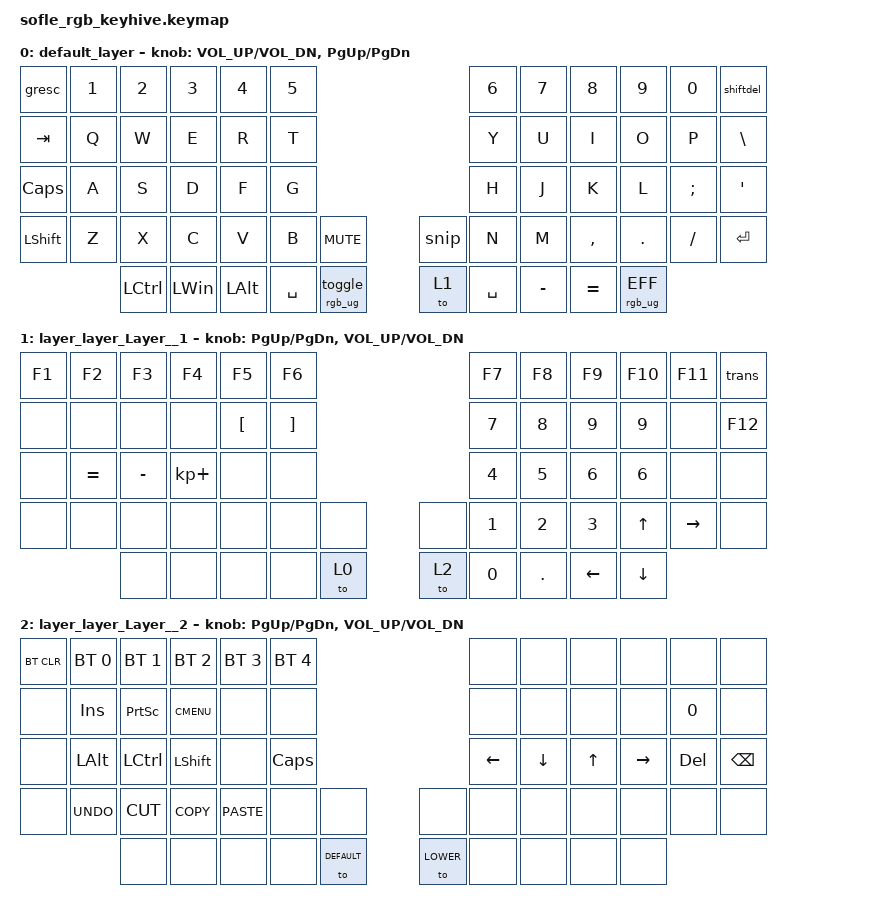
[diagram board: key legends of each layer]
//keymap
#include <dt-bindings/zmk/keys.h>
#include <dt-bindings/zmk/bt.h>
#include <dt-bindings/zmk/rgb.h>


#define DEFAULT 0 
#define LOWER   1
#define RAISE   2

/ {
    behaviors {
        gresc: grave_escape {
            compatible = "zmk,behavior-mod-morph";
            label = "GRAVE_ESCAPE";
            #binding-cells = <0>;
            bindings = <&kp ESC>, <&kp GRAVE>;
            mods = <&kp MOD_LSFT>;
        };
        shiftdel: shift_delete {
            compatible = "zmk,behavior-mod-morph";
            label = "SHIFT_DELETE";
            #binding-cells = <0>;
            bindings = <&kp BACKSPACE>, <&kp DELETE>;
            mods = <&kp MOD_LSFT>;
        };
    };
    macros {
        snip: zed_em_kay {
            label = "Snip";
            compatible = "zmk,behavior-macro";
            #binding-cells = <0>;
            bindings
                = <&macro_press &kp LWIN &kp LSHIFT &kp S>
                , <&macro_release &kp LWIN &kp LSHIFT &kp S>
                ;
        };
    };
    keymap {    
        compatible = "zmk,keymap";
// -------------------------------------------------------------------------------------------------------------
// |  ESC  |  1  |  2  |  3   |  4   |  5  |                       |  6  |   7   |  8    |  9   |   0   | BKSPC |
// |  TAB  |  Q  |  W  |  E   |  R   |  T  |                       |  Y  |   U   |  I    |  O   |   P   |   \   |
// |  CAPS |  A  |  S  |  D   |  F   |  G  |                       |  H  |   J   |  K    |  L   |   ;   |   '   |
// | SHIFT |  Z  |  X  |  C   |  V   |  B  |  MUTE  |      | SNIP  |  N  |   M   |  ,    |  .   |   /   | ENTER |
//               | CTRL| GUI  | ALT  | SPC | rgbtog |      | TO 1  | SPACE | MINUS | RGB NXT |    |
        default_layer {
            bindings = <
&gresc      &kp N1    &kp N2    &kp N3    &kp N4   &kp N5                                        &kp N6      &kp N7     &kp N8          &kp N9          &kp N0      &kp shiftdel
&kp TAB     &kp Q     &kp W     &kp E     &kp R    &kp T                                         &kp Y       &kp U      &kp I           &kp O           &kp P       &kp BACKSLASH
&kp CAPS    &kp A     &kp S     &kp D     &kp F    &kp G                                         &kp H       &kp J      &kp K           &kp L           &kp SEMI    &kp APOS
&kp LSHIFT  &kp Z     &kp X     &kp C     &kp V    &kp B      &kp C_MUTE              &snip      &kp N       &kp M      &kp COMMA       &kp PERIOD      &kp SLASH   &kp ENTER
                      &kp LCTRL &kp LWIN  &kp LALT &kp SPACE  &rgb_ug toggle          &to 1      &kp SPACE   &kp MINUS  &kp EQUAL       &rgb_ug RGB_EFF

            >;
            sensor-bindings = <&inc_dec_kp C_VOL_UP C_VOL_DN &inc_dec_kp PG_UP PG_DN>;

        };

        layer_layer_Layer__1 {
// TODO: Some binds are waiting for shifted keycode support.
// ------------------------------------------------------------------------------------------------------------
// |  F1  |  F2 |  F3 |  F4   |  F5  |  F6   |                  |  F7 |  F8   |  F9   |  F10  |  F11  |  BCKSPC |
// |      |     |     |       |      |       |                  |  7  |   8   |   9   |   -   |       |   F12   |
// |      |  =  |     | kprev |  kPP | knext |                  |  4  |   5   |   6   |   +   |   [   |    ]    |
// |      |     |     |       |      |       |        |  |      |  1  |   2   |   3   |  UP   | RIGHT |         |
//              |     |       |      |   .   |  to 0  |  | to 2 |  0  |   0   |  LEFT |  DOWN |
            bindings = <
&kp F1  &kp F2     &kp F3     &kp F4       &kp F5    &kp F6                       &kp F7   &kp F8      &kp F9     &kp F10   &kp F11    &kp trans
&none   &none      &none      &none        &kp LBKT  &kp RBKT                     &kp N7   &kp N8      &kp N9     &kp N9    &none      &kp F12
&none   &kp EQUAL  &kp MINUS  &kp KP_PLUS  &none     &none                        &kp N4   &kp N5      &kp N6     &kp N6    &none      &none
&none   &none      &none      &none        &none     &none    &none       &none   &kp N1   &kp N2      &kp N3     &kp UP    &kp RIGHT  &none
                   &none      &none        &none     &none    &to 0       &to 2   &kp N0   &kp PERIOD  &kp LEFT   &kp DOWN
            >;

            sensor-bindings = <&inc_dec_kp PG_UP PG_DN &inc_dec_kp C_VOL_UP C_VOL_DN>;
        };

        layer_layer_Layer__2  {
// ------------------------------------------------------------------------------------------------------------
// |BTCLR| BT1  | BT2  |  BT3  |  BT4  |  BT5 |                |      |      |       |      |       |       |
// |     | INS  | PSCR | GUI   |       |      |                |      |      |       |      |       |       |
// |     | ALT  | CTRL | SHIFT |       | CAPS |                |  <-  |   v  |   ^   |  ->  |  DEL  | BKSPC |
// |     | UNDO | CUT  | COPY  | PASTE |      |      |  |      |      |      |       |      |       |       |
//              |      |       |       |      |      |  |      |      |      |       |      |
            bindings = <
&bt BT_CLR &bt BT_SEL 0 &bt BT_SEL 1 &bt BT_SEL 2 &bt BT_SEL 3 &bt BT_SEL 4                     &none    &none    &none   &none      &none    &none
&none     &kp INS      &kp PSCRN    &kp K_CMENU  &none       &none                           &none    &none    &none   &none      &kp N0    &none
&none     &kp LALT     &kp LCTRL    &kp LSHFT    &none       &kp CLCK                         &kp LEFT  &kp DOWN  &kp UP   &kp RIGHT   &kp DEL   &kp BSPC
&none     &kp K_UNDO   &kp K_CUT    &kp K_COPY   &kp K_PASTE  &none  &none        &none     &none    &none    &none   &none      &none    &none
                        &none       &none       &none       &none  &to DEFAULT   &to LOWER  &none    &none    &none   &none
            >;

            sensor-bindings = <&inc_dec_kp PG_UP PG_DN &inc_dec_kp C_VOL_UP C_VOL_DN>;
        };
    };
};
